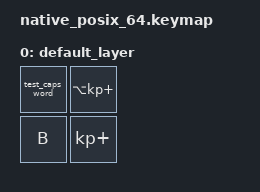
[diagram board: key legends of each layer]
#include "../behavior_keymap.dtsi"

&test_caps_word {
    word-list = <NUBS KP_MINUS KP_SLASH LA(KP_PLUS) KP_DOT>;
};

/ {
    keymap {
        compatible = "zmk,keymap";

        default_layer {
            bindings = <
                &test_caps_word &kp LA(KP_PLUS)
                &kp B           &kp KP_PLUS
            >;
        };
    };
};

&kscan {
    events = <
        ZMK_MOCK_PRESS(0,0,10)
        ZMK_MOCK_RELEASE(0,0,10)
        ZMK_MOCK_PRESS(0,1,10)
        ZMK_MOCK_RELEASE(0,1,10)
        ZMK_MOCK_PRESS(1,0,10)
        ZMK_MOCK_RELEASE(1,0,10)
        ZMK_MOCK_PRESS(1,1,10)
        ZMK_MOCK_RELEASE(1,1,10)
        ZMK_MOCK_PRESS(1,0,10)
        ZMK_MOCK_RELEASE(1,0,10)
    >;
};
